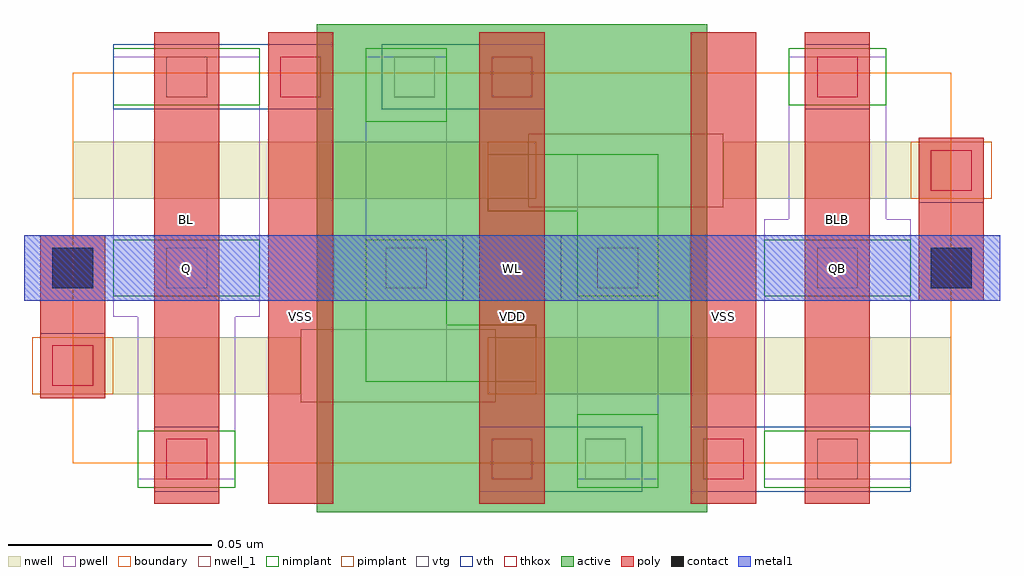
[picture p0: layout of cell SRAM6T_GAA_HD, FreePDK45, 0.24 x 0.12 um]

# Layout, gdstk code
import gdstk
lib = gdstk.Library(unit=1e-6, precision=1e-09)
def R(c, l, rs):  # rectangles x0, y0, x1, y1
    for r in rs: c.add(gdstk.rectangle(r[:2], r[2:], *l))
def A(c, l, x, y, w, h, nx, ny, dx, dy):  # array of equal rectangles
    R(c, l, [(x+i*dx, y+j*dy, x+i*dx+w, y+j*dy+h) for i in range(nx) for j in range(ny)])
active = (1, 0)
pwell = (2, 0)
nwell = (3, 0)
nwell_1 = (3, 1)
nimplant = (4, 0)
pimplant = (5, 0)
vtg = (6, 0)
vth = (7, 0)
thkox = (8, 0)
poly = (9, 0)
contact = (10, 0)
metal1 = (11, 0)
boundary = (235, 0)

sram6t_gaa_hd = lib.new_cell('SRAM6T_GAA_HD')
R(sram6t_gaa_hd, active, [(0.06,-0.012,0.156,0.108)])
R(sram6t_gaa_hd, pwell, [(0.016,-0.004,0.04,0.04), (0.124,-0.004,0.144,0.076), (0.17,-0.004,0.206,0.06), (0.072,0.02,0.092,0.1), (0.01,0.036,0.046,0.1), (0.176,0.056,0.2,0.1)])
R(sram6t_gaa_hd, nwell, [(0,0.017,0.056,0.031), (0.104,0.017,0.216,0.031), (0,0.065,0.112,0.079), (0.16,0.065,0.216,0.079)])
R(sram6t_gaa_hd, nwell_1, [(0.056,0.015,0.104,0.033), (0.112,0.063,0.16,0.081)])
R(sram6t_gaa_hd, nimplant, [(0.016,-0.006,0.04,0.008), (0.124,-0.006,0.144,0.012), (0.17,-0.006,0.206,0.008), (0.072,0.02,0.092,0.055), (0.072,0.02,0.114,0.034), (0.01,0.041,0.046,0.055), (0.124,0.041,0.144,0.076), (0.17,0.041,0.206,0.055), (0.102,0.062,0.144,0.076), (0.072,0.084,0.092,0.102), (0.01,0.088,0.046,0.102), (0.176,0.088,0.2,0.102)])
R(sram6t_gaa_hd, pimplant, [(-0.01,0.017,0.01,0.031), (0.102,0.017,0.114,0.031), (0.102,0.065,0.114,0.079), (0.206,0.065,0.226,0.079)])
A(sram6t_gaa_hd, vtg, 0.023, -0.004, 0.01, 0.01, 1, 3, 0, 0.047)
A(sram6t_gaa_hd, vtg, 0.183, -0.004, 0.01, 0.01, 1, 3, 0, 0.047)
R(sram6t_gaa_hd, vtg, [(0.126,-0.004,0.136,0.006), (-0.005,0.019,0.005,0.029), (0.077,0.043,0.087,0.053), (0.129,0.043,0.139,0.053), (0.211,0.067,0.221,0.077), (0.079,0.09,0.089,0.1)])
R(sram6t_gaa_hd, vth, [(0.02,-0.007,0.036,0.009), (0.1,-0.007,0.14,0.009), (0.152,-0.007,0.206,0.009), (-0.008,0.016,0.008,0.032), (0.02,0.04,0.096,0.056), (0.12,0.04,0.196,0.056), (0.208,0.064,0.224,0.08), (0.01,0.087,0.064,0.103), (0.076,0.087,0.116,0.103), (0.18,0.087,0.196,0.103)])
R(sram6t_gaa_hd, thkox, [(0.023,-0.004,0.033,0.006), (0.103,-0.004,0.113,0.006), (0.155,-0.004,0.165,0.006), (-0.005,0.019,0.005,0.029), (0.211,0.067,0.221,0.077), (0.051,0.09,0.061,0.1), (0.103,0.09,0.113,0.1), (0.183,0.09,0.193,0.1)])
A(sram6t_gaa_hd, poly, 0.048, -0.01, 0.016, 0.116, 3, 1, 0.052, 0)
R(sram6t_gaa_hd, poly, [(0.02,-0.01,0.036,0.106), (0.18,-0.01,0.196,0.106), (-0.008,0.016,0.008,0.056), (0.208,0.04,0.224,0.08)])
R(sram6t_gaa_hd, contact, [(-0.005,0.043,0.005,0.053), (0.211,0.043,0.221,0.053)])
R(sram6t_gaa_hd, metal1, [(-0.012,0.04,0.228,0.056)])
R(sram6t_gaa_hd, boundary, [(0,0,0.216,0.096)])
sram6t_gaa_hd.add(gdstk.Label('BL', (0.028,0.06), layer=9, texttype=2))
sram6t_gaa_hd.add(gdstk.Label('VSS', (0.056,0.036), layer=9, texttype=2))
sram6t_gaa_hd.add(gdstk.Label('VDD', (0.108,0.036), layer=9, texttype=2))
sram6t_gaa_hd.add(gdstk.Label('VSS', (0.16,0.036), layer=9, texttype=2))
sram6t_gaa_hd.add(gdstk.Label('BLB', (0.188,0.06), layer=9, texttype=2))
sram6t_gaa_hd.add(gdstk.Label('WL', (0.108,0.048), layer=11, texttype=2))
sram6t_gaa_hd.add(gdstk.Label('Q', (0.028,0.048), layer=7, texttype=2))
sram6t_gaa_hd.add(gdstk.Label('QB', (0.188,0.048), layer=7, texttype=2))

lib.write_gds('SRAM6T_GAA_HD.gds')
